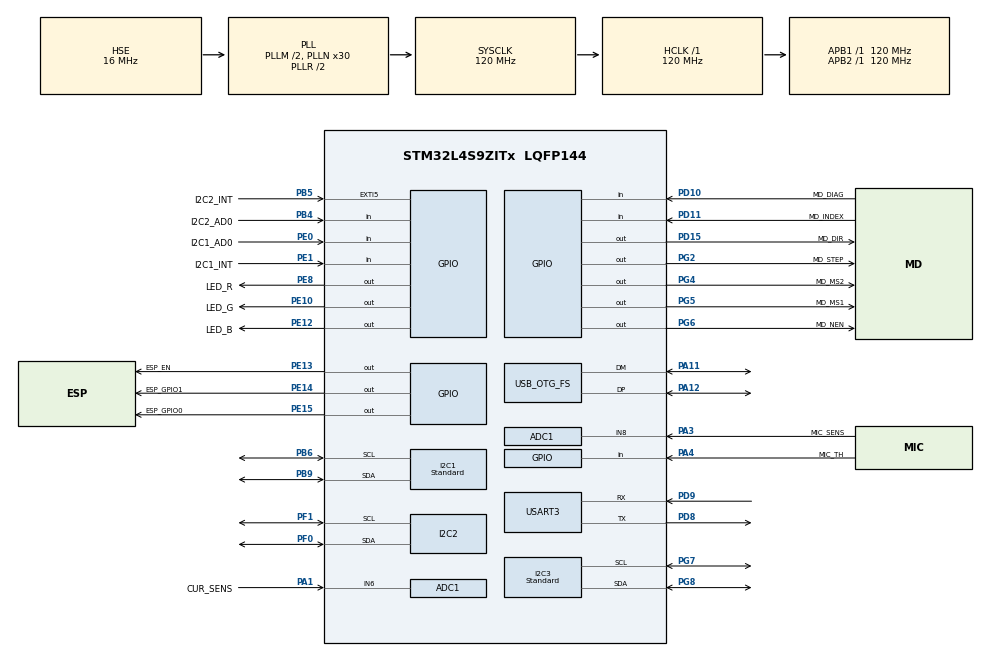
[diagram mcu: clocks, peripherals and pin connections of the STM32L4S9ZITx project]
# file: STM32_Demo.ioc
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ADC1.Channel-0\#ChannelRegularConversion=ADC_CHANNEL_8
ADC1.Channel-2\#ChannelRegularConversion=ADC_CHANNEL_6
ADC1.ContinuousConvMode=DISABLE
ADC1.DMAContinuousRequests=ENABLE
ADC1.EnableInjectedConversion=DISABLE
ADC1.ExternalTrigConv=ADC_EXTERNALTRIG_T6_TRGO
ADC1.ExternalTrigConvEdge=ADC_EXTERNALTRIGCONVEDGE_RISINGFALLING
ADC1.NbrOfConversion=2
ADC1.NbrOfConversionFlag=1
ADC1.OffsetNumber-0\#ChannelRegularConversion=ADC_OFFSET_NONE
ADC1.OffsetNumber-2\#ChannelRegularConversion=ADC_OFFSET_NONE
ADC1.Rank-0\#ChannelRegularConversion=1
ADC1.Rank-2\#ChannelRegularConversion=2
ADC1.Rank1_Channel=ADC_CHANNEL_6
ADC1.SamplingTime-0\#ChannelRegularConversion=ADC_SAMPLETIME_92CYCLES_5
ADC1.SamplingTime-2\#ChannelRegularConversion=ADC_SAMPLETIME_92CYCLES_5
ADC1.master=1
Dma.ADC1.0.Direction=DMA_PERIPH_TO_MEMORY
Dma.ADC1.0.EventEnable=DISABLE
Dma.ADC1.0.Instance=DMA1_Channel1
Dma.ADC1.0.MemDataAlignment=DMA_MDATAALIGN_HALFWORD
Dma.ADC1.0.MemInc=DMA_MINC_ENABLE
Dma.ADC1.0.Mode=DMA_CIRCULAR
Dma.ADC1.0.PeriphDataAlignment=DMA_PDATAALIGN_HALFWORD
Dma.ADC1.0.PeriphInc=DMA_PINC_DISABLE
Dma.ADC1.0.Polarity=HAL_DMAMUX_REQUEST_GEN_RISING
Dma.ADC1.0.Priority=DMA_PRIORITY_LOW
Dma.ADC1.0.RequestNumber=1
Dma.ADC1.0.SignalID=NONE
Dma.ADC1.0.SyncEnable=DISABLE
Dma.ADC1.0.SyncPolarity=HAL_DMAMUX_SYNC_NO_EVENT
Dma.ADC1.0.SyncRequestNumber=1
Dma.ADC1.0.SyncSignalID=NONE
Dma.I2C1_RX.3.Direction=DMA_PERIPH_TO_MEMORY
Dma.I2C1_RX.3.EventEnable=DISABLE
Dma.I2C1_RX.3.Instance=DMA1_Channel5
Dma.I2C1_RX.3.MemDataAlignment=DMA_MDATAALIGN_BYTE
Dma.I2C1_RX.3.MemInc=DMA_MINC_ENABLE
Dma.I2C1_RX.3.Mode=DMA_NORMAL
Dma.I2C1_RX.3.PeriphDataAlignment=DMA_PDATAALIGN_BYTE
Dma.I2C1_RX.3.PeriphInc=DMA_PINC_DISABLE
Dma.I2C1_RX.3.Polarity=HAL_DMAMUX_REQUEST_GEN_RISING
Dma.I2C1_RX.3.Priority=DMA_PRIORITY_LOW
Dma.I2C1_RX.3.RequestNumber=1
Dma.I2C1_RX.3.SignalID=NONE
Dma.I2C1_RX.3.SyncEnable=DISABLE
Dma.I2C1_RX.3.SyncPolarity=HAL_DMAMUX_SYNC_NO_EVENT
Dma.I2C1_RX.3.SyncRequestNumber=1
Dma.I2C1_RX.3.SyncSignalID=NONE
Dma.I2C2_RX.5.Direction=DMA_PERIPH_TO_MEMORY
Dma.I2C2_RX.5.EventEnable=DISABLE
Dma.I2C2_RX.5.Instance=DMA1_Channel4
Dma.I2C2_RX.5.MemDataAlignment=DMA_MDATAALIGN_BYTE
Dma.I2C2_RX.5.MemInc=DMA_MINC_ENABLE
Dma.I2C2_RX.5.Mode=DMA_NORMAL
Dma.I2C2_RX.5.PeriphDataAlignment=DMA_PDATAALIGN_BYTE
Dma.I2C2_RX.5.PeriphInc=DMA_PINC_DISABLE
Dma.I2C2_RX.5.Polarity=HAL_DMAMUX_REQUEST_GEN_RISING
Dma.I2C2_RX.5.Priority=DMA_PRIORITY_LOW
Dma.I2C2_RX.5.RequestNumber=1
Dma.I2C2_RX.5.SignalID=NONE
Dma.I2C2_RX.5.SyncEnable=DISABLE
Dma.I2C2_RX.5.SyncPolarity=HAL_DMAMUX_SYNC_NO_EVENT
Dma.I2C2_RX.5.SyncRequestNumber=1
Dma.I2C2_RX.5.SyncSignalID=NONE
Dma.I2C3_RX.4.Direction=DMA_PERIPH_TO_MEMORY
Dma.I2C3_RX.4.EventEnable=DISABLE
Dma.I2C3_RX.4.Instance=DMA1_Channel6
Dma.I2C3_RX.4.MemDataAlignment=DMA_MDATAALIGN_BYTE
Dma.I2C3_RX.4.MemInc=DMA_MINC_ENABLE
Dma.I2C3_RX.4.Mode=DMA_NORMAL
Dma.I2C3_RX.4.PeriphDataAlignment=DMA_PDATAALIGN_BYTE
Dma.I2C3_RX.4.PeriphInc=DMA_PINC_DISABLE
Dma.I2C3_RX.4.Polarity=HAL_DMAMUX_REQUEST_GEN_RISING
Dma.I2C3_RX.4.Priority=DMA_PRIORITY_LOW
Dma.I2C3_RX.4.RequestNumber=1
Dma.I2C3_RX.4.SignalID=NONE
Dma.I2C3_RX.4.SyncEnable=DISABLE
Dma.I2C3_RX.4.SyncPolarity=HAL_DMAMUX_SYNC_NO_EVENT
Dma.I2C3_RX.4.SyncRequestNumber=1
Dma.I2C3_RX.4.SyncSignalID=NONE
Dma.Request0=ADC1
Dma.Request1=USART3_TX
Dma.Request2=USART3_RX
Dma.Request3=I2C1_RX
Dma.Request4=I2C3_RX
Dma.Request5=I2C2_RX
Dma.USART3_RX.2.Direction=DMA_PERIPH_TO_MEMORY
Dma.USART3_RX.2.EventEnable=DISABLE
Dma.USART3_RX.2.Instance=DMA1_Channel3
Dma.USART3_RX.2.MemDataAlignment=DMA_MDATAALIGN_BYTE
Dma.USART3_RX.2.MemInc=DMA_MINC_ENABLE
Dma.USART3_RX.2.Mode=DMA_NORMAL
Dma.USART3_RX.2.PeriphDataAlignment=DMA_PDATAALIGN_BYTE
Dma.USART3_RX.2.PeriphInc=DMA_PINC_DISABLE
Dma.USART3_RX.2.Polarity=HAL_DMAMUX_REQUEST_GEN_RISING
Dma.USART3_RX.2.Priority=DMA_PRIORITY_LOW
Dma.USART3_RX.2.RequestNumber=1
Dma.USART3_RX.2.SignalID=NONE
Dma.USART3_RX.2.SyncEnable=DISABLE
Dma.USART3_RX.2.SyncPolarity=HAL_DMAMUX_SYNC_NO_EVENT
Dma.USART3_RX.2.SyncRequestNumber=1
Dma.USART3_RX.2.SyncSignalID=NONE
Dma.USART3_TX.1.Direction=DMA_MEMORY_TO_PERIPH
Dma.USART3_TX.1.EventEnable=DISABLE
Dma.USART3_TX.1.Instance=DMA1_Channel2
Dma.USART3_TX.1.MemDataAlignment=DMA_MDATAALIGN_BYTE
Dma.USART3_TX.1.MemInc=DMA_MINC_ENABLE
Dma.USART3_TX.1.Mode=DMA_NORMAL
Dma.USART3_TX.1.PeriphDataAlignment=DMA_PDATAALIGN_BYTE
Dma.USART3_TX.1.PeriphInc=DMA_PINC_DISABLE
Dma.USART3_TX.1.Polarity=HAL_DMAMUX_REQUEST_GEN_RISING
Dma.USART3_TX.1.Priority=DMA_PRIORITY_LOW
Dma.USART3_TX.1.RequestNumber=1
Dma.USART3_TX.1.SignalID=NONE
Dma.USART3_TX.1.SyncEnable=DISABLE
Dma.USART3_TX.1.SyncPolarity=HAL_DMAMUX_SYNC_NO_EVENT
Dma.USART3_TX.1.SyncRequestNumber=1
Dma.USART3_TX.1.SyncSignalID=NONE
FREERTOS.Tasks01=usb_log_task,40,512,usb_log_task_entry,Default,NULL,Dynamic,NULL,NULL;motor_task,24,128,motor_task_entry,Default,NULL,Dynamic,NULL,NULL;wifi_task,16,256,wifi_task_entry,Default,NULL,Dynamic,NULL,NULL;proc_task,32,256,proc_task_entry,Default,NULL,Dynamic,NULL,NULL
FREERTOS.Timers01=heartbeat_timer,heartbeat_timer_callback,osTimerPeriodic,Default,NULL,Dynamic,NULL
FREERTOS.configENABLE_FPU=1
FREERTOS.configTOTAL_HEAP_SIZE=65535
FREERTOS.configUSE_NEWLIB_REENTRANT=1
I2C1.I2C_Speed_Mode=I2C_Standard
I2C1.Timing=0x307075B1
I2C2.I2C_Fall_Time=100
I2C2.I2C_Rise_Time=100
I2C2.Timing=0x30A175AB
I2C3.I2C_Speed_Mode=I2C_Standard
I2C3.Timing=0x307075B1
Mcu.Family=STM32L4
Mcu.Name=STM32L4S9ZITx
Mcu.Package=LQFP144
NVIC.ADC1_IRQn=true\:5\:0\:false\:false\:true\:true\:true\:true
NVIC.DMA1_Channel1_IRQn=true\:5\:0\:false\:false\:true\:true\:false\:true
NVIC.DMA1_Channel2_IRQn=true\:5\:0\:false\:false\:true\:true\:false\:true
NVIC.DMA1_Channel3_IRQn=true\:5\:0\:false\:false\:true\:true\:false\:true
NVIC.DMA1_Channel4_IRQn=true\:5\:0\:false\:false\:true\:true\:false\:true
NVIC.DMA1_Channel5_IRQn=true\:5\:0\:false\:false\:true\:true\:false\:true
NVIC.DMA1_Channel6_IRQn=true\:5\:0\:false\:false\:true\:true\:false\:true
NVIC.EXTI9_5_IRQn=true\:5\:0\:false\:false\:true\:true\:true\:true
NVIC.I2C1_EV_IRQn=true\:5\:0\:false\:false\:true\:true\:true\:true
NVIC.I2C2_EV_IRQn=true\:5\:0\:false\:false\:true\:true\:true\:true
NVIC.OTG_FS_IRQn=true\:5\:0\:false\:false\:true\:true\:false\:true
NVIC.PriorityGroup=NVIC_PRIORITYGROUP_4
NVIC.TIM8_UP_IRQn=true\:15\:0\:false\:false\:true\:false\:false\:true
NVIC.TimeBase=TIM8_UP_IRQn
NVIC.TimeBaseIP=TIM8
NVIC.USART3_IRQn=true\:5\:0\:false\:false\:true\:true\:true\:true
PA1.GPIO_Label=CUR_SENS
PA1.Signal=ADCx_IN6
PA11.Mode=Device_Only
PA11.Signal=USB_OTG_FS_DM
PA12.Mode=Device_Only
PA12.Signal=USB_OTG_FS_DP
PA13\ (JTMS/SWDIO).Mode=Trace_Asynchronous_SW
PA13\ (JTMS/SWDIO).Signal=SYS_JTMS-SWDIO
PA14\ (JTCK/SWCLK).Mode=Trace_Asynchronous_SW
PA14\ (JTCK/SWCLK).Signal=SYS_JTCK-SWCLK
PA3.GPIO_Label=MIC_SENS
PA3.Signal=ADCx_IN8
PA4.GPIO_Label=MIC_TH
PA4.Signal=GPIO_Input
PB3\ (JTDO/TRACESWO).Mode=Trace_Asynchronous_SW
PB3\ (JTDO/TRACESWO).Signal=SYS_JTDO-SWO
PB4\ (NJTRST).GPIO_Label=I2C2_AD0
PB4\ (NJTRST).Signal=GPIO_Input
PB5.GPIO_Label=I2C2_INT
PB5.GPIO_PuPd=GPIO_PULLDOWN
PB5.Signal=GPXTI5
PB6.Mode=I2C
PB6.Signal=I2C1_SCL
PB9.Mode=I2C
PB9.Signal=I2C1_SDA
PD10.GPIO_Label=MD_DIAG
PD10.Signal=GPIO_Input
PD11.GPIO_Label=MD_INDEX
PD11.Signal=GPIO_Input
PD12.Signal=I2C4_SCL
PD13.Signal=I2C4_SDA
PD15.GPIO_Label=MD_DIR
PD15.PinState=GPIO_PIN_SET
PD15.Signal=GPIO_Output
PD8.Mode=Asynchronous
PD8.Signal=USART3_TX
PD9.Mode=Asynchronous
PD9.Signal=USART3_RX
PE0.GPIO_Label=I2C1_AD0
PE0.Signal=GPIO_Input
PE1.GPIO_Label=I2C1_INT
PE1.Signal=GPIO_Input
PE10.GPIO_Label=LED_G
PE10.PinState=GPIO_PIN_SET
PE10.Signal=GPIO_Output
PE12.GPIO_Label=LED_B
PE12.PinState=GPIO_PIN_SET
PE12.Signal=GPIO_Output
PE13.GPIO_Label=ESP_EN
PE13.PinState=GPIO_PIN_SET
PE13.Signal=GPIO_Output
PE14.GPIO_Label=ESP_GPIO1
PE14.GPIO_ModeDefaultOutputPP=GPIO_MODE_OUTPUT_OD
PE14.GPIO_PuPd=GPIO_PULLUP
PE14.PinState=GPIO_PIN_SET
PE14.Signal=GPIO_Output
PE15.GPIO_Label=ESP_GPIO0
PE15.GPIO_ModeDefaultOutputPP=GPIO_MODE_OUTPUT_OD
PE15.GPIO_PuPd=GPIO_PULLUP
PE15.PinState=GPIO_PIN_SET
PE15.Signal=GPIO_Output
PE8.GPIO_Label=LED_R
PE8.PinState=GPIO_PIN_SET
PE8.Signal=GPIO_Output
PF0.GPIO_Pu=GPIO_PULLUP
PF0.GPIO_Speed=GPIO_SPEED_FREQ_MEDIUM
PF0.Mode=I2C
PF0.Signal=I2C2_SDA
PF1.GPIO_Pu=GPIO_PULLUP
PF1.GPIO_Speed=GPIO_SPEED_FREQ_MEDIUM
PF1.Mode=I2C
PF1.Signal=I2C2_SCL
PG2.GPIO_Label=MD_STEP
PG2.Signal=GPIO_Output
PG4.GPIO_Label=MD_MS2
PG4.PinState=GPIO_PIN_SET
PG4.Signal=GPIO_Output
PG5.GPIO_Label=MD_MS1
PG5.PinState=GPIO_PIN_SET
PG5.Signal=GPIO_Output
PG6.GPIO_Label=MD_NEN
PG6.GPIO_ModeDefaultOutputPP=GPIO_MODE_OUTPUT_OD
PG6.PinState=GPIO_PIN_SET
PG6.Signal=GPIO_Output
PG7.Mode=I2C
PG7.Signal=I2C3_SCL
PG8.Mode=I2C
PG8.Signal=I2C3_SDA
PH0-OSC_IN\ (PH0).Mode=HSE-External-Oscillator
PH0-OSC_IN\ (PH0).Signal=RCC_OSC_IN
PH1-OSC_OUT\ (PH1).Mode=HSE-External-Oscillator
PH1-OSC_OUT\ (PH1).Signal=RCC_OSC_OUT
ProjectManager.HeapSize=0x200
ProjectManager.StackSize=0x400
ProjectManager.TargetToolchain=STM32CubeIDE
RCC.ADCCLockSelection=RCC_ADCCLKSOURCE_SYSCLK
RCC.ADCFreq_Value=120000000
RCC.AHBFreq_Value=120000000
RCC.APB1Freq_Value=120000000
RCC.APB1TimFreq_Value=120000000
RCC.APB2Freq_Value=120000000
RCC.APB2TimFreq_Value=120000000
RCC.CortexFreq_Value=120000000
RCC.HCLKFreq_Value=120000000
RCC.HSE_VALUE=16000000
RCC.HSI48_VALUE=48000000
RCC.HSI_VALUE=16000000
RCC.LSE_VALUE=32768
RCC.MSI_VALUE=4000000
RCC.PLLM1=2
RCC.PLLM2=2
RCC.PLLN=30
RCC.PLLSAI1N=12
RCC.PLLSourceVirtual=RCC_PLLSOURCE_HSE
RCC.SYSCLKFreq_VALUE=120000000
RCC.SYSCLKSource=RCC_SYSCLKSOURCE_PLLCLK
RCC.USBFreq_Value=48000000
RCC.VCOOutputFreq_Value=240000000
SH.ADCx_IN6.0=ADC1_IN6,IN6-Single-Ended
SH.ADCx_IN8.0=ADC1_IN8,IN8-Single-Ended
SYS.VoltageScaling=SYSCFG_VREFBUF_VOLTAGE_SCALE1
TIM6.Period=10000-1
TIM6.TIM_MasterOutputTrigger=TIM_TRGO_UPDATE
USART3.DMADisableonRxErrorParam=ADVFEATURE_DMA_DISABLEONRXERROR
USART3.OverrunDisableParam=ADVFEATURE_OVERRUN_DISABLE
USART3.VirtualMode-Asynchronous=VM_ASYNC
USB_DEVICE.CLASS_NAME_FS=CDC
USB_DEVICE.VirtualMode=Cdc
USB_DEVICE.VirtualModeFS=Cdc_FS
USB_OTG_FS.VirtualMode=Device_Only
VP_FREERTOS_VS_CMSIS_V2.Mode=CMSIS_V2
VP_SYS_VS_tim8.Mode=TIM8
VP_TIM5_VS_ClockSourceINT.Mode=Internal
VP_TIM6_VS_ClockSourceINT.Mode=Enable_Timer
VP_USB_DEVICE_VS_USB_DEVICE_CDC_FS.Mode=CDC_FS
VREF+.Mode=InternalMode
VREF+.Signal=VREFBUF_OUT
board=custom

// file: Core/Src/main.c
/* USER CODE BEGIN Header */
/**
  ******************************************************************************
  * @file           : main.c
  * @brief          : Main program body
  ******************************************************************************
  * @attention
  *
  * Copyright (c) 2022 STMicroelectronics.
  * All rights reserved.
  *
  * This software is licensed under terms that can be found in the LICENSE file
  * in the root directory of this software component.
  * If no LICENSE file comes with this software, it is provided AS-IS.
  *
  ******************************************************************************
  */
/* USER CODE END Header */
#include "main.h"
#include "cmsis_os.h"
#include "usb_device.h"

/* USER CODE BEGIN Includes */

#include "usb_device.h"
#include "usbd_cdc_if.h"
#include "data_logger.h"
#include "AT_commands.h"
#include "queue.h"
#include "thingspeak.h"
#include "TMP102.h"
#include "BME280.h"
#include "MPU6050.h"
#include "arm_math.h"

/* USER CODE END Includes */

/* USER CODE BEGIN PTD */

#define ADC_BUF_LEN 2048
#define MIC_BUF_LEN 1024
#define CUR_BUF_LEN 1024
#define IMU_BUF_LEN 64
#define FSAMPLING 12000

typedef enum
{
	BUF_EMPTY,
	BUF_HALF_FULL,
	BUF_FULL
} BUF_STATE;

typedef struct
{
	float accel_x[IMU_BUF_LEN];
	float accel_y[IMU_BUF_LEN];
	float accel_z[IMU_BUF_LEN];
	float gyro_x[IMU_BUF_LEN];
	float gyro_y[IMU_BUF_LEN];
	float gyro_z[IMU_BUF_LEN];
} IMU_BUF;

/* USER CODE END PTD */

ADC_HandleTypeDef hadc1;
DMA_HandleTypeDef hdma_adc1;

I2C_HandleTypeDef hi2c1;
I2C_HandleTypeDef hi2c2;
I2C_HandleTypeDef hi2c3;
DMA_HandleTypeDef hdma_i2c1_rx;
DMA_HandleTypeDef hdma_i2c2_rx;
DMA_HandleTypeDef hdma_i2c3_rx;

TIM_HandleTypeDef htim5;
TIM_HandleTypeDef htim6;

UART_HandleTypeDef huart3;
DMA_HandleTypeDef hdma_usart3_tx;
DMA_HandleTypeDef hdma_usart3_rx;

/* Definitions for usb_log_task */
osThreadId_t usb_log_taskHandle;
const osThreadAttr_t usb_log_task_attributes = {
  .name = "usb_log_task",
  .stack_size = 512 * 4,
  .priority = (osPriority_t) osPriorityHigh,
};
/* Definitions for motor_task */
osThreadId_t motor_taskHandle;
const osThreadAttr_t motor_task_attributes = {
  .name = "motor_task",
  .stack_size = 128 * 4,
  .priority = (osPriority_t) osPriorityNormal,
};
/* Definitions for wifi_task */
osThreadId_t wifi_taskHandle;
const osThreadAttr_t wifi_task_attributes = {
  .name = "wifi_task",
  .stack_size = 256 * 4,
  .priority = (osPriority_t) osPriorityBelowNormal,
};
/* Definitions for proc_task */
osThreadId_t proc_taskHandle;
const osThreadAttr_t proc_task_attributes = {
  .name = "proc_task",
  .stack_size = 256 * 4,
  .priority = (osPriority_t) osPriorityAboveNormal,
};
/* Definitions for heartbeat_timer */
osTimerId_t heartbeat_timerHandle;
const osTimerAttr_t heartbeat_timer_attributes = {
  .name = "heartbeat_timer"
};
/* USER CODE BEGIN PV */

uint8_t usb_rx_buffer[USB_RX_BUF_LEN];

uint16_t adc_raw_buf[ADC_BUF_LEN];
float mic_buf[MIC_BUF_LEN];
float cur_buf[CUR_BUF_LEN];

IMU_BUF imu_buf[2], imu_fft_buf;

float fft_mic_in_buf[MIC_BUF_LEN/2];
float fft_cur_in_buf[MIC_BUF_LEN/2];

float mic_fft_buf[MIC_BUF_LEN/2];
float cur_fft_buf[CUR_BUF_LEN/2];

IMU_BUF fft_in_imu;

float test_imu[6*IMU_BUF_LEN];

//QueueHandle_t logging_q;
BUF_STATE adc_buf_state = BUF_EMPTY;
BUF_STATE imu_buf_state = BUF_EMPTY;

/* USER CODE END PV */

void SystemClock_Config(void);
static void MX_GPIO_Init(void);
static void MX_DMA_Init(void);
static void MX_ADC1_Init(void);
static void MX_TIM6_Init(void);
static void MX_USART3_UART_Init(void);
static void MX_I2C1_Init(void);
static void MX_TIM5_Init(void);
static void MX_I2C3_Init(void);
static void MX_I2C2_Init(void);
void usb_log_task_entry(void *argument);
void motor_task_entry(void *argument);
void wifi_task_entry(void *argument);
void proc_task_entry(void *argument);
void heartbeat_timer_callback(void *argument);

int main(void)
{

  /* MCU Configuration--------------------------------------------------------*/

  /* Reset of all peripherals, Initializes the Flash interface and the Systick. */
  HAL_Init();

  /* Configure the system clock */
  SystemClock_Config();

  /* Initialize all configured peripherals */
  MX_GPIO_Init();
  MX_DMA_Init();
  MX_ADC1_Init();
  MX_TIM6_Init();
  MX_USART3_UART_Init();
  MX_I2C1_Init();
  MX_TIM5_Init();
  MX_I2C3_Init();
  MX_I2C2_Init();
  /* USER CODE BEGIN 2 */

  TMP102_init(&hi2c1);

  BME280_init(&hi2c3);

  if (HAL_ADCEx_Calibration_Start(&hadc1, ADC_SINGLE_ENDED) != HAL_OK)
  	  Error_Handler();

  if (HAL_ADC_Start_DMA(&hadc1, (uint32_t*) adc_raw_buf, ADC_BUF_LEN) != HAL_OK)
	  Error_Handler();

  if (HAL_TIM_Base_Start(&htim6) != HAL_OK)
	  Error_Handler();

  /* USER CODE END 2 */

  /* Init scheduler */
  osKernelInitialize();

  /* Create the timer(s) */
  /* creation of heartbeat_timer */
  heartbeat_timerHandle = osTimerNew(heartbeat_timer_callback, osTimerPeriodic, NULL, &heartbeat_timer_attributes);

  /* USER CODE BEGIN RTOS_TIMERS */
  /* start timers, add new ones, ... */

  osTimerStart(heartbeat_timerHandle, 1000);

  /* USER CODE END RTOS_TIMERS */

  /* USER CODE BEGIN RTOS_QUEUES */
  /* add queues, ... */

  logging_q = xQueueCreate(64, sizeof(LOGGING_Q_ITEM));

  /* USER CODE END RTOS_QUEUES */

  /* Create the thread(s) */
  /* creation of usb_log_task */
  usb_log_taskHandle = osThreadNew(usb_log_task_entry, NULL, &usb_log_task_attributes);

  /* creation of motor_task */
  motor_taskHandle = osThreadNew(motor_task_entry, NULL, &motor_task_attributes);

  /* creation of wifi_task */
  wifi_taskHandle = osThreadNew(wifi_task_entry, NULL, &wifi_task_attributes);

  /* creation of proc_task */
  proc_taskHandle = osThreadNew(proc_task_entry, NULL, &proc_task_attributes);

  /* Start scheduler */
  osKernelStart();

  /* We should never get here as control is now taken by the scheduler */
  /* Infinite loop */
  while (1)
  {

  }
}

void SystemClock_Config(void)
{
  RCC_OscInitTypeDef RCC_OscInitStruct = {0};
  RCC_ClkInitTypeDef RCC_ClkInitStruct = {0};

  /** Configure the main internal regulator output voltage
  */
  if (HAL_PWREx_ControlVoltageScaling(PWR_REGULATOR_VOLTAGE_SCALE1_BOOST) != HAL_OK)
  {
    Error_Handler();
  }
  /** Initializes the RCC Oscillators according to the specified parameters
  * in the RCC_OscInitTypeDef structure.
  */
  RCC_OscInitStruct.OscillatorType = RCC_OSCILLATORTYPE_HSE;
  RCC_OscInitStruct.HSEState = RCC_HSE_ON;
  RCC_OscInitStruct.PLL.PLLState = RCC_PLL_ON;
  RCC_OscInitStruct.PLL.PLLSource = RCC_PLLSOURCE_HSE;
  RCC_OscInitStruct.PLL.PLLM = 2;
  RCC_OscInitStruct.PLL.PLLN = 30;
  RCC_OscInitStruct.PLL.PLLP = RCC_PLLP_DIV2;
  RCC_OscInitStruct.PLL.PLLQ = RCC_PLLQ_DIV2;
  RCC_OscInitStruct.PLL.PLLR = RCC_PLLR_DIV2;
  if (HAL_RCC_OscConfig(&RCC_OscInitStruct) != HAL_OK)
  {
    Error_Handler();
  }
  /** Initializes the CPU, AHB and APB buses clocks
  */
  RCC_ClkInitStruct.ClockType = RCC_CLOCKTYPE_HCLK|RCC_CLOCKTYPE_SYSCLK
                              |RCC_CLOCKTYPE_PCLK1|RCC_CLOCKTYPE_PCLK2;
  RCC_ClkInitStruct.SYSCLKSource = RCC_SYSCLKSOURCE_PLLCLK;
  RCC_ClkInitStruct.AHBCLKDivider = RCC_SYSCLK_DIV1;
  RCC_ClkInitStruct.APB1CLKDivider = RCC_HCLK_DIV1;
  RCC_ClkInitStruct.APB2CLKDivider = RCC_HCLK_DIV1;

  if (HAL_RCC_ClockConfig(&RCC_ClkInitStruct, FLASH_LATENCY_5) != HAL_OK)
  {
    Error_Handler();
  }
}

static void MX_ADC1_Init(void)
{

  ADC_ChannelConfTypeDef sConfig = {0};

  /** Common config
  */
  hadc1.Instance = ADC1;
  hadc1.Init.ClockPrescaler = ADC_CLOCK_ASYNC_DIV2;
  hadc1.Init.Resolution = ADC_RESOLUTION_12B;
  hadc1.Init.DataAlign = ADC_DATAALIGN_RIGHT;
  hadc1.Init.ScanConvMode = ADC_SCAN_ENABLE;
  hadc1.Init.EOCSelection = ADC_EOC_SINGLE_CONV;
  hadc1.Init.LowPowerAutoWait = DISABLE;
  hadc1.Init.ContinuousConvMode = DISABLE;
  hadc1.Init.NbrOfConversion = 2;
  hadc1.Init.DiscontinuousConvMode = DISABLE;
  hadc1.Init.ExternalTrigConv = ADC_EXTERNALTRIG_T6_TRGO;
  hadc1.Init.ExternalTrigConvEdge = ADC_EXTERNALTRIGCONVEDGE_RISINGFALLING;
  hadc1.Init.DMAContinuousRequests = ENABLE;
  hadc1.Init.Overrun = ADC_OVR_DATA_PRESERVED;
  hadc1.Init.OversamplingMode = DISABLE;
  if (HAL_ADC_Init(&hadc1) != HAL_OK)
  {
    Error_Handler();
  }
  /** Configure Regular Channel
  */
  sConfig.Channel = ADC_CHANNEL_8;
  sConfig.Rank = ADC_REGULAR_RANK_1;
  sConfig.SamplingTime = ADC_SAMPLETIME_92CYCLES_5;
  sConfig.SingleDiff = ADC_SINGLE_ENDED;
  sConfig.OffsetNumber = ADC_OFFSET_NONE;
  sConfig.Offset = 0;
  if (HAL_ADC_ConfigChannel(&hadc1, &sConfig) != HAL_OK)
  {
    Error_Handler();
  }
  /** Configure Regular Channel
  */
  sConfig.Channel = ADC_CHANNEL_6;
  sConfig.Rank = ADC_REGULAR_RANK_2;
  if (HAL_ADC_ConfigChannel(&hadc1, &sConfig) != HAL_OK)
  {
    Error_Handler();
  }

}

static void MX_I2C1_Init(void)
{

  hi2c1.Instance = I2C1;
  hi2c1.Init.Timing = 0x307075B1;
  hi2c1.Init.OwnAddress1 = 0;
  hi2c1.Init.AddressingMode = I2C_ADDRESSINGMODE_7BIT;
  hi2c1.Init.DualAddressMode = I2C_DUALADDRESS_DISABLE;
  hi2c1.Init.OwnAddress2 = 0;
  hi2c1.Init.OwnAddress2Masks = I2C_OA2_NOMASK;
  hi2c1.Init.GeneralCallMode = I2C_GENERALCALL_DISABLE;
  hi2c1.Init.NoStretchMode = I2C_NOSTRETCH_DISABLE;
  if (HAL_I2C_Init(&hi2c1) != HAL_OK)
  {
    Error_Handler();
  }
  /** Configure Analogue filter
  */
  if (HAL_I2CEx_ConfigAnalogFilter(&hi2c1, I2C_ANALOGFILTER_ENABLE) != HAL_OK)
  {
    Error_Handler();
  }
  /** Configure Digital filter
  */
  if (HAL_I2CEx_ConfigDigitalFilter(&hi2c1, 0) != HAL_OK)
  {
    Error_Handler();
  }

}

static void MX_I2C2_Init(void)
{

  hi2c2.Instance = I2C2;
  hi2c2.Init.Timing = 0x30A175AB;
  hi2c2.Init.OwnAddress1 = 0;
  hi2c2.Init.AddressingMode = I2C_ADDRESSINGMODE_7BIT;
  hi2c2.Init.DualAddressMode = I2C_DUALADDRESS_DISABLE;
  hi2c2.Init.OwnAddress2 = 0;
  hi2c2.Init.OwnAddress2Masks = I2C_OA2_NOMASK;
  hi2c2.Init.GeneralCallMode = I2C_GENERALCALL_DISABLE;
  hi2c2.Init.NoStretchMode = I2C_NOSTRETCH_DISABLE;
  if (HAL_I2C_Init(&hi2c2) != HAL_OK)
  {
    Error_Handler();
  }
  /** Configure Analogue filter
  */
  if (HAL_I2CEx_ConfigAnalogFilter(&hi2c2, I2C_ANALOGFILTER_ENABLE) != HAL_OK)
  {
    Error_Handler();
  }
  /** Configure Digital filter
  */
  if (HAL_I2CEx_ConfigDigitalFilter(&hi2c2, 0) != HAL_OK)
  {
    Error_Handler();
  }

}

static void MX_I2C3_Init(void)
{

  hi2c3.Instance = I2C3;
  hi2c3.Init.Timing = 0x307075B1;
  hi2c3.Init.OwnAddress1 = 0;
  hi2c3.Init.AddressingMode = I2C_ADDRESSINGMODE_7BIT;
  hi2c3.Init.DualAddressMode = I2C_DUALADDRESS_DISABLE;
  hi2c3.Init.OwnAddress2 = 0;
  hi2c3.Init.OwnAddress2Masks = I2C_OA2_NOMASK;
  hi2c3.Init.GeneralCallMode = I2C_GENERALCALL_DISABLE;
  hi2c3.Init.NoStretchMode = I2C_NOSTRETCH_DISABLE;
  if (HAL_I2C_Init(&hi2c3) != HAL_OK)
  {
    Error_Handler();
  }
  /** Configure Analogue filter
  */
  if (HAL_I2CEx_ConfigAnalogFilter(&hi2c3, I2C_ANALOGFILTER_ENABLE) != HAL_OK)
  {
    Error_Handler();
  }
  /** Configure Digital filter
  */
  if (HAL_I2CEx_ConfigDigitalFilter(&hi2c3, 0) != HAL_OK)
  {
    Error_Handler();
  }

}

static void MX_TIM5_Init(void)
{

  TIM_ClockConfigTypeDef sClockSourceConfig = {0};
  TIM_MasterConfigTypeDef sMasterConfig = {0};

  htim5.Instance = TIM5;
  htim5.Init.Prescaler = 0;
  htim5.Init.CounterMode = TIM_COUNTERMODE_UP;
  htim5.Init.Period = 4294967295;
  htim5.Init.ClockDivision = TIM_CLOCKDIVISION_DIV1;
  htim5.Init.AutoReloadPreload = TIM_AUTORELOAD_PRELOAD_DISABLE;
  if (HAL_TIM_Base_Init(&htim5) != HAL_OK)
  {
    Error_Handler();
  }
  sClockSourceConfig.ClockSource = TIM_CLOCKSOURCE_INTERNAL;
  if (HAL_TIM_ConfigClockSource(&htim5, &sClockSourceConfig) != HAL_OK)
  {
    Error_Handler();
  }
  sMasterConfig.MasterOutputTrigger = TIM_TRGO_RESET;
  sMasterConfig.MasterSlaveMode = TIM_MASTERSLAVEMODE_DISABLE;
  if (HAL_TIMEx_MasterConfigSynchronization(&htim5, &sMasterConfig) != HAL_OK)
  {
    Error_Handler();
  }

}

static void MX_TIM6_Init(void)
{

  TIM_MasterConfigTypeDef sMasterConfig = {0};

  htim6.Instance = TIM6;
  htim6.Init.Prescaler = 0;
  htim6.Init.CounterMode = TIM_COUNTERMODE_UP;
  htim6.Init.Period = 10000-1;
  htim6.Init.AutoReloadPreload = TIM_AUTORELOAD_PRELOAD_DISABLE;
  if (HAL_TIM_Base_Init(&htim6) != HAL_OK)
  {
    Error_Handler();
  }
  sMasterConfig.MasterOutputTrigger = TIM_TRGO_UPDATE;
  sMasterConfig.MasterSlaveMode = TIM_MASTERSLAVEMODE_DISABLE;
  if (HAL_TIMEx_MasterConfigSynchronization(&htim6, &sMasterConfig) != HAL_OK)
  {
    Error_Handler();
  }

}

static void MX_USART3_UART_Init(void)
{

  huart3.Instance = USART3;
  huart3.Init.BaudRate = 115200;
  huart3.Init.WordLength = UART_WORDLENGTH_8B;
  huart3.Init.StopBits = UART_STOPBITS_1;
  huart3.Init.Parity = UART_PARITY_NONE;
  huart3.Init.Mode = UART_MODE_TX_RX;
  huart3.Init.HwFlowCtl = UART_HWCONTROL_NONE;
  huart3.Init.OverSampling = UART_OVERSAMPLING_16;
  huart3.Init.OneBitSampling = UART_ONE_BIT_SAMPLE_DISABLE;
  huart3.Init.ClockPrescaler = UART_PRESCALER_DIV1;
  huart3.AdvancedInit.AdvFeatureInit = UART_ADVFEATURE_RXOVERRUNDISABLE_INIT|UART_ADVFEATURE_DMADISABLEONERROR_INIT;
  huart3.AdvancedInit.OverrunDisable = UART_ADVFEATURE_OVERRUN_DISABLE;
  huart3.AdvancedInit.DMADisableonRxError = UART_ADVFEATURE_DMA_DISABLEONRXERROR;
  if (HAL_UART_Init(&huart3) != HAL_OK)
  {
    Error_Handler();
  }
  if (HAL_UARTEx_SetTxFifoThreshold(&huart3, UART_TXFIFO_THRESHOLD_1_8) != HAL_OK)
  {
    Error_Handler();
  }
  if (HAL_UARTEx_SetRxFifoThreshold(&huart3, UART_RXFIFO_THRESHOLD_1_8) != HAL_OK)
  {
    Error_Handler();
  }
  if (HAL_UARTEx_DisableFifoMode(&huart3) != HAL_OK)
  {
    Error_Handler();
  }

}

static void MX_DMA_Init(void)
{

  /* DMA controller clock enable */
  __HAL_RCC_DMAMUX1_CLK_ENABLE();
  __HAL_RCC_DMA1_CLK_ENABLE();

  /* DMA interrupt init */
  /* DMA1_Channel1_IRQn interrupt configuration */
  HAL_NVIC_SetPriority(DMA1_Channel1_IRQn, 5, 0);
  HAL_NVIC_EnableIRQ(DMA1_Channel1_IRQn);
  /* DMA1_Channel2_IRQn interrupt configuration */
  HAL_NVIC_SetPriority(DMA1_Channel2_IRQn, 5, 0);
  HAL_NVIC_EnableIRQ(DMA1_Channel2_IRQn);
  /* DMA1_Channel3_IRQn interrupt configuration */
  HAL_NVIC_SetPriority(DMA1_Channel3_IRQn, 5, 0);
  HAL_NVIC_EnableIRQ(DMA1_Channel3_IRQn);
  /* DMA1_Channel4_IRQn interrupt configuration */
  HAL_NVIC_SetPriority(DMA1_Channel4_IRQn, 5, 0);
  HAL_NVIC_EnableIRQ(DMA1_Channel4_IRQn);
  /* DMA1_Channel5_IRQn interrupt configuration */
  HAL_NVIC_SetPriority(DMA1_Channel5_IRQn, 5, 0);
  HAL_NVIC_EnableIRQ(DMA1_Channel5_IRQn);
  /* DMA1_Channel6_IRQn interrupt configuration */
  HAL_NVIC_SetPriority(DMA1_Channel6_IRQn, 5, 0);
  HAL_NVIC_EnableIRQ(DMA1_Channel6_IRQn);

}

static void MX_GPIO_Init(void)
{
  GPIO_InitTypeDef GPIO_InitStruct = {0};

  /* GPIO Ports Clock Enable */
  __HAL_RCC_GPIOF_CLK_ENABLE();
  __HAL_RCC_GPIOH_CLK_ENABLE();
  __HAL_RCC_GPIOA_CLK_ENABLE();
  __HAL_RCC_GPIOE_CLK_ENABLE();
  __HAL_RCC_GPIOD_CLK_ENABLE();
  __HAL_RCC_GPIOG_CLK_ENABLE();
  HAL_PWREx_EnableVddIO2();
  __HAL_RCC_GPIOB_CLK_ENABLE();

  /*Configure GPIO pin Output Level */
  HAL_GPIO_WritePin(GPIOE, LED_R_Pin|LED_G_Pin|LED_B_Pin|ESP_EN_Pin
                          |ESP_GPIO1_Pin|ESP_GPIO0_Pin, GPIO_PIN_SET);

  /*Configure GPIO pin Output Level */
  HAL_GPIO_WritePin(MD_DIR_GPIO_Port, MD_DIR_Pin, GPIO_PIN_SET);

  /*Configure GPIO pin Output Level */
  HAL_GPIO_WritePin(MD_STEP_GPIO_Port, MD_STEP_Pin, GPIO_PIN_RESET);

  /*Configure GPIO pin Output Level */
  HAL_GPIO_WritePin(GPIOG, MD_MS2_Pin|MD_MS1_Pin|MD_NEN_Pin, GPIO_PIN_SET);

  /*Configure GPIO pin : MIC_TH_Pin */
  GPIO_InitStruct.Pin = MIC_TH_Pin;
  GPIO_InitStruct.Mode = GPIO_MODE_INPUT;
  GPIO_InitStruct.Pull = GPIO_NOPULL;
  HAL_GPIO_Init(MIC_TH_GPIO_Port, &GPIO_InitStruct);

  /*Configure GPIO pins : LED_R_Pin LED_G_Pin LED_B_Pin ESP_EN_Pin */
  GPIO_InitStruct.Pin = LED_R_Pin|LED_G_Pin|LED_B_Pin|ESP_EN_Pin;
  GPIO_InitStruct.Mode = GPIO_MODE_OUTPUT_PP;
  GPIO_InitStruct.Pull = GPIO_NOPULL;
  GPIO_InitStruct.Speed = GPIO_SPEED_FREQ_LOW;
  HAL_GPIO_Init(GPIOE, &GPIO_InitStruct);

  /*Configure GPIO pins : ESP_GPIO1_Pin ESP_GPIO0_Pin */
  GPIO_InitStruct.Pin = ESP_GPIO1_Pin|ESP_GPIO0_Pin;
  GPIO_InitStruct.Mode = GPIO_MODE_OUTPUT_OD;
  GPIO_InitStruct.Pull = GPIO_PULLUP;
  GPIO_InitStruct.Speed = GPIO_SPEED_FREQ_LOW;
  HAL_GPIO_Init(GPIOE, &GPIO_InitStruct);

  /*Configure GPIO pins : MD_DIAG_Pin MD_INDEX_Pin */
  GPIO_InitStruct.Pin = MD_DIAG_Pin|MD_INDEX_Pin;
  GPIO_InitStruct.Mode = GPIO_MODE_INPUT;
  GPIO_InitStruct.Pull = GPIO_NOPULL;
  HAL_GPIO_Init(GPIOD, &GPIO_InitStruct);

  /*Configure GPIO pins : PD12 PD13 */
  GPIO_InitStruct.Pin = GPIO_PIN_12|GPIO_PIN_13;
  GPIO_InitStruct.Mode = GPIO_MODE_AF_OD;
  GPIO_InitStruct.Pull = GPIO_NOPULL;
  GPIO_InitStruct.Speed = GPIO_SPEED_FREQ_VERY_HIGH;
  GPIO_InitStruct.Alternate = GPIO_AF4_I2C4;
  HAL_GPIO_Init(GPIOD, &GPIO_InitStruct);

  /*Configure GPIO pin : MD_DIR_Pin */
  GPIO_InitStruct.Pin = MD_DIR_Pin;
  GPIO_InitStruct.Mode = GPIO_MODE_OUTPUT_PP;
  GPIO_InitStruct.Pull = GPIO_NOPULL;
  GPIO_InitStruct.Speed = GPIO_SPEED_FREQ_LOW;
  HAL_GPIO_Init(MD_DIR_GPIO_Port, &GPIO_InitStruct);

  /*Configure GPIO pins : MD_STEP_Pin MD_MS2_Pin MD_MS1_Pin */
  GPIO_InitStruct.Pin = MD_STEP_Pin|MD_MS2_Pin|MD_MS1_Pin;
  GPIO_InitStruct.Mode = GPIO_MODE_OUTPUT_PP;
  GPIO_InitStruct.Pull = GPIO_NOPULL;
  GPIO_InitStruct.Speed = GPIO_SPEED_FREQ_LOW;
  HAL_GPIO_Init(GPIOG, &GPIO_InitStruct);

  /*Configure GPIO pin : MD_NEN_Pin */
  GPIO_InitStruct.Pin = MD_NEN_Pin;
  GPIO_InitStruct.Mode = GPIO_MODE_OUTPUT_OD;
  GPIO_InitStruct.Pull = GPIO_NOPULL;
  GPIO_InitStruct.Speed = GPIO_SPEED_FREQ_LOW;
  HAL_GPIO_Init(MD_NEN_GPIO_Port, &GPIO_InitStruct);

  /*Configure GPIO pin : I2C2_AD0_Pin */
  GPIO_InitStruct.Pin = I2C2_AD0_Pin;
  GPIO_InitStruct.Mode = GPIO_MODE_INPUT;
  GPIO_InitStruct.Pull = GPIO_NOPULL;
  HAL_GPIO_Init(I2C2_AD0_GPIO_Port, &GPIO_InitStruct);

  /*Configure GPIO pin : I2C2_INT_Pin */
  GPIO_InitStruct.Pin = I2C2_INT_Pin;
  GPIO_InitStruct.Mode = GPIO_MODE_IT_RISING;
  GPIO_InitStruct.Pull = GPIO_PULLDOWN;
  HAL_GPIO_Init(I2C2_INT_GPIO_Port, &GPIO_InitStruct);

  /*Configure GPIO pins : I2C1_AD0_Pin I2C1_INT_Pin */
  GPIO_InitStruct.Pin = I2C1_AD0_Pin|I2C1_INT_Pin;
  GPIO_InitStruct.Mode = GPIO_MODE_INPUT;
  GPIO_InitStruct.Pull = GPIO_NOPULL;
  HAL_GPIO_Init(GPIOE, &GPIO_InitStruct);

  /* EXTI interrupt init*/
  HAL_NVIC_SetPriority(EXTI9_5_IRQn, 5, 0);
  HAL_NVIC_EnableIRQ(EXTI9_5_IRQn);

}

/* USER CODE BEGIN 4 */

void HAL_ADC_ConvHalfCpltCallback(ADC_HandleTypeDef* hadc) {
	// Indicator that higher priority task has woken while we are in ISR
	BaseType_t xHigherPriorityTaskWoken = pdFALSE;

	adc_buf_state = BUF_HALF_FULL;

	// Waking up task
	vTaskNotifyGiveFromISR(proc_taskHandle, &xHigherPriorityTaskWoken);
	// Run the scheduler upon exit of ISR
	portYIELD_FROM_ISR( xHigherPriorityTaskWoken );
}

void HAL_ADC_ConvCpltCallback(ADC_HandleTypeDef* hadc) {
	// Indicator that higher priority task has woken while we are in ISR
	BaseType_t xHigherPriorityTaskWoken = pdFALSE;

	adc_buf_state = BUF_FULL;

	// Waking up task
	vTaskNotifyGiveFromISR(proc_taskHandle, &xHigherPriorityTaskWoken);
	// Run the scheduler upon exit of ISR
	portYIELD_FROM_ISR( xHigherPriorityTaskWoken );
}

void HAL_I2C_MemRxCpltCallback(I2C_HandleTypeDef* hi2c)
{
	// Indicator that higher priority task has woken while we are in ISR
	BaseType_t xHigherPriorityTaskWoken = pdFALSE;

	if (hi2c == MPU6050.hi2c)
	{
		static uint32_t imu_index = 0;
		static uint8_t imu_buf_id = 0;

		MPU6050_convert_from_raw();

		imu_buf[imu_buf_id].accel_x[imu_index] = MPU6050.accel_x;
		imu_buf[imu_buf_id].accel_y[imu_index] = MPU6050.accel_y;
		imu_buf[imu_buf_id].accel_z[imu_index] = MPU6050.accel_z;

		imu_buf[imu_buf_id].gyro_x[imu_index] = MPU6050.gyro_x;
		imu_buf[imu_buf_id].gyro_y[imu_index] = MPU6050.gyro_y;
		imu_buf[imu_buf_id].gyro_z[imu_index] = MPU6050.gyro_z;

		imu_index++;
		if (imu_index == IMU_BUF_LEN)
		{
			if (imu_buf_id == 0)
			{
				imu_buf_state = BUF_HALF_FULL;
				imu_index = 0;
				imu_buf_id = 1;
			}
			else
			{
				imu_buf_state = BUF_FULL;
				imu_index = 0;
				imu_buf_id = 0;
			}

			vTaskNotifyGiveFromISR(proc_taskHandle, &xHigherPriorityTaskWoken);
		}
	}

	// Run the scheduler upon exit of ISR
	portYIELD_FROM_ISR( xHigherPriorityTaskWoken );
}

void compute_fft_psd(arm_rfft_fast_instance_f32* inst, float* buf_in, float* buf_out, uint32_t L, float fs)
{
	arm_rfft_fast_f32(inst, buf_in, buf_out, 0);
	arm_cmplx_mag_f32(buf_out+2, buf_out+2, L/2-1);

	float nyquist_freq_sample = buf_out[1];
	for (int i=2; i<=L/2; i++)
		buf_out[i-1] = (2.0f*buf_out[i]*buf_out[i]/(L*fs));

	buf_out[0] = (buf_out[0]*buf_out[0]/(L*fs));
	buf_out[L/2] = (nyquist_freq_sample*nyquist_freq_sample/(L*fs));
}

/* USER CODE END 4 */

void usb_log_task_entry(void *argument)
{
  /* init code for USB_DEVICE */
  MX_USB_DEVICE_Init();
  /* USER CODE BEGIN 5 */

  MPU6050_init(&hi2c2, &hdma_i2c2_rx);

  LOGGING_Q_ITEM current;
  static char id, signal = 0;

  /* Infinite loop */
  for(;;)
  {
	  if( xQueueReceive( logging_q, &current, portMAX_DELAY) == pdPASS )
	  {
		  signal = usb_rx_buffer[0];

		  if (signal == 'r')
		  {
			  switch (current.id)
			  {
			  case LOG_MIC:
				  id = 'm';
				  break;
			  case LOG_CUR:
				  id = 'c';
				  break;
			  case LOG_IMU:
				  id = 'i';
				  break;
			  case LOG_MIC_FFT:
				  id = 'M';
				  break;
			  case LOG_CUR_FFT:
				  id = 'C';
				  break;
			  case LOG_ACC_X_FFT:
				  id = '1';
				  break;
			  case LOG_ACC_Y_FFT:
				  id = '2';
				  break;
			  case LOG_ACC_Z_FFT:
				  id = '3';
				  break;
			  case LOG_GYR_X_FFT:
				  id = '4';
				  break;
			  case LOG_GYR_Y_FFT:
				  id = '5';
				  break;
			  case LOG_GYR_Z_FFT:
				  id = '6';
				  break;
			  }

			  while (CDC_Transmit_FS((uint8_t*)&id, 1) != USBD_OK)
				  osDelay(1);

			  while (CDC_Transmit_FS(current.buffer, current.size) != USBD_OK)
				  osDelay(1);

			  }

	  }
  }
  /* USER CODE END 5 */
}

void motor_task_entry(void *argument)
{
  /* USER CODE BEGIN motor_task_entry */

  /* Infinite loop */
	osDelay(3000);

	// Enabling the motor driver
	HAL_GPIO_WritePin(MD_NEN_GPIO_Port, MD_NEN_Pin, GPIO_PIN_RESET);
	osDelay(100);

  /* Infinite loop */
  for(;;)
  {
	 uint8_t dir;
	 dir = rand()%2;

	 // Setting a direction
	 if (dir == 0x00)
		 HAL_GPIO_WritePin(MD_DIR_GPIO_Port, MD_DIR_Pin, GPIO_PIN_RESET);
	 else
		 HAL_GPIO_WritePin(MD_DIR_GPIO_Port, MD_DIR_Pin, GPIO_PIN_SET);
	 osDelay(1);

	 int degrees;
	 degrees = rand()%200;

	 for (int i=0; i<degrees*16; i++)
	 {
	 	 HAL_GPIO_WritePin(MD_STEP_GPIO_Port, MD_STEP_Pin, GPIO_PIN_SET);
	     vTaskDelay((TickType_t)pdMS_TO_TICKS(1));
		 HAL_GPIO_WritePin(MD_STEP_GPIO_Port, MD_STEP_Pin, GPIO_PIN_RESET);
	     vTaskDelay((TickType_t)pdMS_TO_TICKS(1));
	 }

	  // Checking the diagnostic pin of the motor driver
	  if (HAL_GPIO_ReadPin(MD_DIAG_GPIO_Port, MD_DIAG_Pin) == GPIO_PIN_SET)
		  HAL_GPIO_WritePin(LED_R_GPIO_Port, LED_R_Pin, GPIO_PIN_RESET);
	  else
		  HAL_GPIO_WritePin(LED_R_GPIO_Port, LED_R_Pin, GPIO_PIN_SET);

	  osDelay(3000);
  }
  /* USER CODE END motor_task_entry */
}

void wifi_task_entry(void *argument)
{
  /* USER CODE BEGIN wifi_task_entry */
	AT_init(&huart3, &hdma_usart3_rx, wifi_taskHandle);

	TS_establish_connection("Alysandratos 2.4GHz", "a1b2c3d4e5");

	float buf[4] = {0};

  /* Infinite loop */
  for(;;)
  {
	  TMP102_read_temperature();
	  buf[0] = TMP102.current_temperature;

	  BME280_read_data();
	  buf[1] = BME280.press;
	  buf[2] = BME280.hum;
	  buf[3] = BME280.temp;

	  TS_send_data("13R16VK6AKMJNERT", buf, 4);
	  osDelay(15000);
  }
  /* USER CODE END wifi_task_entry */
}

void proc_task_entry(void *argument)
{
  /* USER CODE BEGIN proc_task_entry */
	uint32_t L = MIC_BUF_LEN/2;
	arm_rfft_fast_instance_f32 adc_rfft_inst, imu_rfft_inst;

	arm_rfft_512_fast_init_f32(&adc_rfft_inst);
	arm_rfft_64_fast_init_f32(&imu_rfft_inst);

  /* Infinite loop */
  for(;;)
  {

	ulTaskNotifyTake(pdTRUE, portMAX_DELAY);

	if (adc_buf_state == BUF_HALF_FULL)
	{
		// Deinterleaving ADC data
		for (int i=0; i<MIC_BUF_LEN/2; i++)
		{
			mic_buf[i] = adc_raw_buf[2*i] * (2.5f / 4096);
			cur_buf[i] = adc_raw_buf[2*i+1] * (2.5f / 4096);
		}

		// Logging unprocessed
		log_via_USB(mic_buf, (MIC_BUF_LEN/2)*sizeof(float), LOG_MIC);
		log_via_USB(cur_buf, (CUR_BUF_LEN/2)*sizeof(float), LOG_CUR);

		// FFT
		memcpy(fft_mic_in_buf, mic_buf, L*sizeof(float));
		compute_fft_psd(&adc_rfft_inst, fft_mic_in_buf, mic_fft_buf, L, FSAMPLING);
		log_via_USB(mic_fft_buf, (L/2+1)*sizeof(float), LOG_MIC_FFT);

		memcpy(fft_cur_in_buf, cur_buf, L*sizeof(float));
		compute_fft_psd(&adc_rfft_inst, fft_cur_in_buf, cur_fft_buf, L, FSAMPLING);
		log_via_USB(cur_fft_buf, (L/2+1)*sizeof(float), LOG_CUR_FFT);

		adc_buf_state = BUF_EMPTY;
	}

	else if (adc_buf_state == BUF_FULL)
	{
		// Deinterleaving ADC data
		for (int i=MIC_BUF_LEN/2; i<MIC_BUF_LEN; i++)
		{
			mic_buf[i] = adc_raw_buf[2*i] * (2.5f / 4096);
			cur_buf[i] = adc_raw_buf[2*i+1] * (2.5f / 4096);
		}

		// Logging unprocessed
		log_via_USB(mic_buf + MIC_BUF_LEN/2, (MIC_BUF_LEN/2)*sizeof(float), LOG_MIC);
		log_via_USB(cur_buf + CUR_BUF_LEN/2, (CUR_BUF_LEN/2)*sizeof(float), LOG_CUR);

		// FFT
		memcpy(fft_mic_in_buf, mic_buf + MIC_BUF_LEN/2, L*sizeof(float));
		compute_fft_psd(&adc_rfft_inst, fft_mic_in_buf, mic_fft_buf, L, FSAMPLING);
		log_via_USB(mic_fft_buf, (L/2+1)*sizeof(float), LOG_MIC_FFT);

		memcpy(fft_cur_in_buf, cur_buf + CUR_BUF_LEN/2, L*sizeof(float));
		compute_fft_psd(&adc_rfft_inst, fft_cur_in_buf, cur_fft_buf, L, FSAMPLING);
		log_via_USB(cur_fft_buf, (L/2+1)*sizeof(float), LOG_CUR_FFT);

		adc_buf_state = BUF_EMPTY;
	}

	if (imu_buf_state == BUF_HALF_FULL)
	{

		log_via_USB(imu_buf[0].accel_x, sizeof(IMU_BUF), LOG_IMU);

		memcpy(fft_in_imu.accel_x, imu_buf[0].accel_x, sizeof(IMU_BUF));

		compute_fft_psd(&imu_rfft_inst, fft_in_imu.accel_x, imu_fft_buf.accel_x, IMU_BUF_LEN, FSAMPLING);
		log_via_USB(imu_fft_buf.accel_x, (IMU_BUF_LEN/2+1)*sizeof(float), LOG_ACC_X_FFT);

		compute_fft_psd(&imu_rfft_inst, fft_in_imu.accel_y, imu_fft_buf.accel_y, IMU_BUF_LEN, FSAMPLING);
		log_via_USB(imu_fft_buf.accel_y, (IMU_BUF_LEN/2+1)*sizeof(float), LOG_ACC_Y_FFT);

		compute_fft_psd(&imu_rfft_inst, fft_in_imu.accel_z, imu_fft_buf.accel_z, IMU_BUF_LEN, FSAMPLING);
		log_via_USB(imu_fft_buf.accel_z, (IMU_BUF_LEN/2+1)*sizeof(float), LOG_ACC_Z_FFT);

		compute_fft_psd(&imu_rfft_inst, fft_in_imu.gyro_x, imu_fft_buf.gyro_x, IMU_BUF_LEN, FSAMPLING);
		log_via_USB(imu_fft_buf.gyro_x, (IMU_BUF_LEN/2+1)*sizeof(float), LOG_GYR_X_FFT);

		compute_fft_psd(&imu_rfft_inst, fft_in_imu.gyro_y, imu_fft_buf.gyro_y, IMU_BUF_LEN, FSAMPLING);
		log_via_USB(imu_fft_buf.gyro_y, (IMU_BUF_LEN/2+1)*sizeof(float), LOG_GYR_Y_FFT);

		compute_fft_psd(&imu_rfft_inst, fft_in_imu.gyro_z, imu_fft_buf.gyro_z, IMU_BUF_LEN, FSAMPLING);
		log_via_USB(imu_fft_buf.gyro_z, (IMU_BUF_LEN/2+1)*sizeof(float), LOG_GYR_Z_FFT);

		imu_buf_state = BUF_EMPTY;
	}

	else if (imu_buf_state == BUF_FULL)
	{

		log_via_USB(imu_buf[1].accel_x, sizeof(IMU_BUF), LOG_IMU);

		memcpy(fft_in_imu.accel_x, imu_buf[1].accel_x, sizeof(IMU_BUF));

		compute_fft_psd(&imu_rfft_inst, fft_in_imu.accel_x, imu_fft_buf.accel_x, IMU_BUF_LEN, FSAMPLING);
		log_via_USB(imu_fft_buf.accel_x, (IMU_BUF_LEN/2+1)*sizeof(float), LOG_ACC_X_FFT);

		compute_fft_psd(&imu_rfft_inst, fft_in_imu.accel_y, imu_fft_buf.accel_y, IMU_BUF_LEN, FSAMPLING);
		log_via_USB(imu_fft_buf.accel_y, (IMU_BUF_LEN/2+1)*sizeof(float), LOG_ACC_Y_FFT);

		compute_fft_psd(&imu_rfft_inst, fft_in_imu.accel_z, imu_fft_buf.accel_z, IMU_BUF_LEN, FSAMPLING);
		log_via_USB(imu_fft_buf.accel_z, (IMU_BUF_LEN/2+1)*sizeof(float), LOG_ACC_Z_FFT);

		compute_fft_psd(&imu_rfft_inst, fft_in_imu.gyro_x, imu_fft_buf.gyro_x, IMU_BUF_LEN, FSAMPLING);
		log_via_USB(imu_fft_buf.gyro_x, (IMU_BUF_LEN/2+1)*sizeof(float), LOG_GYR_X_FFT);

		compute_fft_psd(&imu_rfft_inst, fft_in_imu.gyro_y, imu_fft_buf.gyro_y, IMU_BUF_LEN, FSAMPLING);
		log_via_USB(imu_fft_buf.gyro_y, (IMU_BUF_LEN/2+1)*sizeof(float), LOG_GYR_Y_FFT);

		compute_fft_psd(&imu_rfft_inst, fft_in_imu.gyro_z, imu_fft_buf.gyro_z, IMU_BUF_LEN, FSAMPLING);
		log_via_USB(imu_fft_buf.gyro_z, (IMU_BUF_LEN/2+1)*sizeof(float), LOG_GYR_Z_FFT);

		imu_buf_state = BUF_EMPTY;
	}

		/*
	process();
	log_processed();
	*/

  }
  /* USER CODE END proc_task_entry */
}

/* heartbeat_timer_callback function */
void heartbeat_timer_callback(void *argument)
{
  /* USER CODE BEGIN heartbeat_timer_callback */

	HAL_GPIO_TogglePin(LED_B_GPIO_Port, LED_B_Pin);

  /* USER CODE END heartbeat_timer_callback */
}

void HAL_TIM_PeriodElapsedCallback(TIM_HandleTypeDef *htim)
{
  if (htim->Instance == TIM8) {
    HAL_IncTick();
  }
}

void Error_Handler(void)
{
  /* USER CODE BEGIN Error_Handler_Debug */
  /* User can add his own implementation to report the HAL error return state */
  __disable_irq();
  while (1)
  {
	  HAL_GPIO_TogglePin(LED_R_GPIO_Port, LED_R_Pin);
	  HAL_Delay(100);
  }
  /* USER CODE END Error_Handler_Debug */
}
